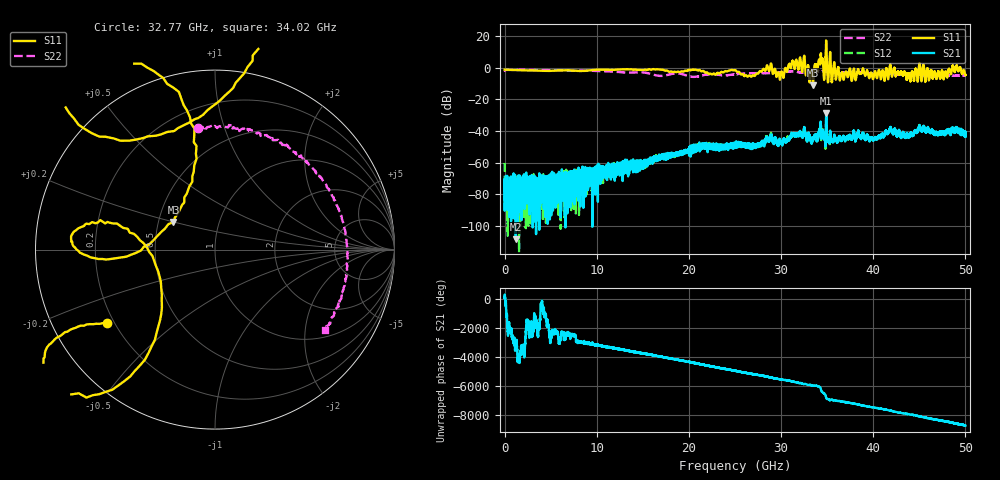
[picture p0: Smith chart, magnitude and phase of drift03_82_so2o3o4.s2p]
!Created with skrf (http://scikit-rf.org).
# Hz S RI R 50.0
!freq ReS11 ImS11 ReS21 ImS21 ReS12 ImS12 ReS22 ImS22
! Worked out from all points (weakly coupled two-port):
!   10001 points, 300 kHz to 50 GHz, reference 50 ohm
!   highest |S21| = -28.99 dB at 34.89 GHz (marker M1); lowest = -108.6 dB at 1.21 GHz (marker M2)
!   lowest |S11| = -11.1 dB at 33.47 GHz (marker M3), VSWR 1.77, Z = 30 + j10 ohm
!   |S11| at or under -10 dB: 33.44955 GHz to 33.48575 GHz (36.2 MHz wide, 0.108 % of centre)
!   |S22| runs from -5.9 to -1.3 dB; largest |S21 - S12| = 0.0093
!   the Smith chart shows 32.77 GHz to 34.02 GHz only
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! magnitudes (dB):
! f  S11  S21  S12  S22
! 300 kHz  -1.3  -72.0  -60.3  -2.0
! 260.3 MHz  -1.3  -71.5  -83.8  -1.4
! 1.21 GHz  -1.6  -108.6  -68.0  -1.4
! 4.475 GHz  -2.1  -76.3  -98.0  -1.6
! 8.335 GHz  -2.2  -69.7  -71.3  -1.9
! 16.67 GHz  -1.1  -56.5  -57.7  -5.1
! 25 GHz  -1.5  -48.1  -49.1  -4.3
! 26.92 GHz  -4.9  -50.2  -49.8  -3.5
! 28.73 GHz  -2.2  -46.1  -45.4  -3.5
! 30.06 GHz  -2.5  -47.3  -47.3  -2.8
! 31.88 GHz  -1.4  -41.6  -41.9  -2.9
! 33.34 GHz  -2.2  -47.6  -47.3  -2.9
! 33.47 GHz  -11.1  -44.7  -44.8  -2.8
! 34.3 GHz  7.5  -35.0  -34.8  -2.2
! 34.89 GHz  17.1  -29.0  -31.3  -2.3
! 36.58 GHz  -3.5  -45.5  -45.9  -3.5
! 40.16 GHz  -2.8  -44.1  -44.9  -3.7
! 41.67 GHz  -5.5  -40.1  -40.8  -3.7
! 43.84 GHz  -3.6  -43.5  -43.5  -3.8
! 45.22 GHz  -8.3  -39.4  -39.9  -4.4
! 49.21 GHz  -2.1  -39.2  -40.0  -5.1
! 50 GHz  -4.8  -43.7  -41.8  -4.9
